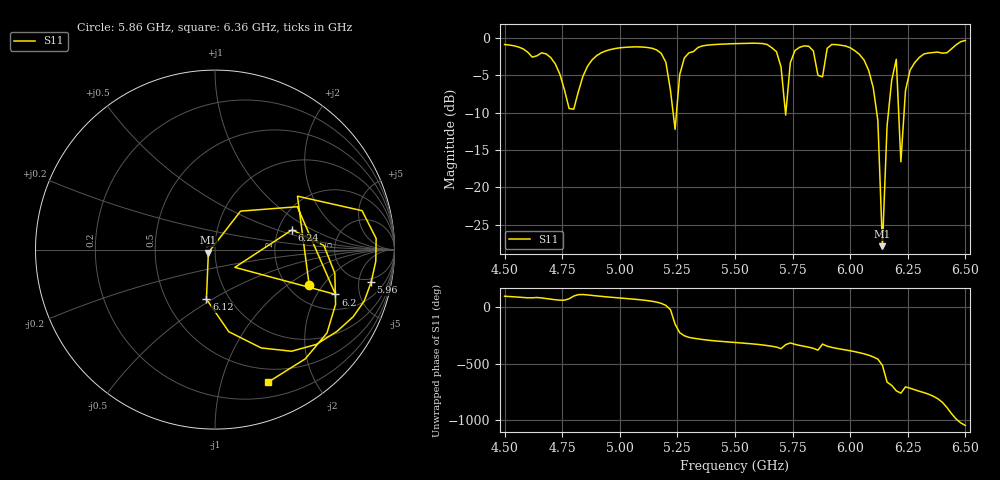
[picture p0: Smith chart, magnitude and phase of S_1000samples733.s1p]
! TOUCHSTONE file generated by CST MICROWAVE STUDIO
! Date and time: Sat Oct 29 05:04:08 2022
! Project name: L.cst
! Parameters = {Di=1.27; Epsilon_r=1.56; InnerDiameter=1.27; Length=2; Lf=10; Lg=60; OuterConductorThickness=0.2921; OuterDiameter=3.6; Wf=3; Wp=41.2; de=1.5; df=6.8; g=0.8; gx=0.410653; gy=2.34987; h=2.34; hf=1.524; px=14.8836; py=14.3557; w=9.7; wx=14.473; wy=12.0058}
! Header version: 2018
! Port assignment regex: !\s*Touchstone port\s*([0-9]+)\s*=\s*(CST MWS port|CST DS port)\s*([0-9]+|Zmin|Zmax)\s*\(\"(.*)\"\)(\s*mode\s*([0-9]+))?.*
! Touchstone port assignment:
! Touchstone port 1 = CST MWS port 1 ("")
# GHz S DB R 50
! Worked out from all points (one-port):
!   101 points, 4.5 GHz to 6.5 GHz, reference 50 ohm
!   lowest |S11| = -27.8 dB at 6.14 GHz (marker M1), VSWR 1.08, Z = 46.4 - j1.56 ohm
!   |S11| at or under -10 dB: 5.231336 GHz to 5.246145 GHz (14.81 MHz wide, 0.283 % of centre); 5.718951 GHz to 5.720963 GHz (2.012 MHz wide, 0.0352 % of centre); 6.115 GHz to 6.166 GHz (50.73 MHz wide, 0.826 % of centre) (the widest 3 of 4)
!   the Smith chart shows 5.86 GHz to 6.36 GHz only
!   S11 on the Smith chart (normalised r, x): 5.86 GHz: 2.59, -1.49; 5.96 GHz: 4.19, -7.27; 6.12 GHz: 0.79, -0.47; 6.2 GHz: 2.86, -2.93; 6.24 GHz: 2.38, +0.65; 6.36 GHz: 0.35, -1.42
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4.5  -0.92 97.0
4.76  -7.01 62.0
4.84  -5.16 111.8
5  -1.36 81.3
5.2  -3.30 15.4
5.24  -12.24 -150.8
5.26  -4.95 133.8
5.34  -1.31 79.5
5.5  -0.80 47.3
5.7  -3.94 -7.3
5.72  -10.34 28.3
5.76  -1.73 31.0
5.86  -5.03 -20.5
5.88  -5.23 32.9
5.96  -1.02 -11.8
6  -1.35 -25.9
6.12  -11.05 -99.8
6.14  -27.83 -155.6
6.18  -5.73 27.5
6.2  -2.90 -20.4
6.22  -16.57 -41.8
6.24  -7.07 14.4
6.26  -4.34 2.2
6.36  -1.99 -68.0
6.4  -2.07 -122.2
6.42  -2.02 -168.7
6.46  -0.95 88.8
6.5  -0.38 32.5
